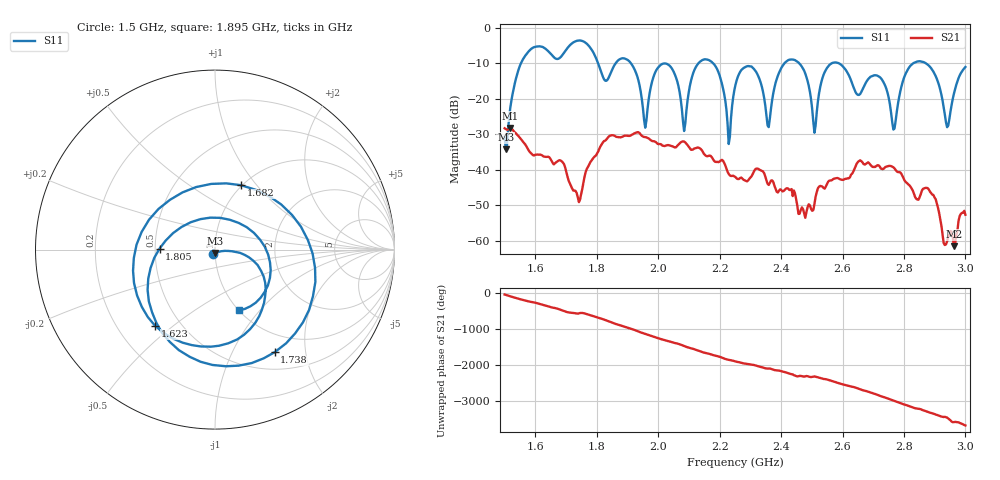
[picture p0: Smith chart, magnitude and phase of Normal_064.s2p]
# HZ S RI R 50
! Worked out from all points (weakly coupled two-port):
!   404 points, 1.5 GHz to 3 GHz, reference 50 ohm
!   highest |S21| = -28.25 dB at 1.519 GHz (marker M1); lowest = -61.5 dB at 2.963 GHz (marker M2)
!   lowest |S11| = -34.3 dB at 1.504 GHz (marker M3), VSWR 1.04, Z = 50 - j1.94 ohm
!   |S11| at or under -10 dB: 1.911 GHz to 2.131 GHz (219.7 MHz wide, 10.9 % of centre); 2.179 GHz to 2.411 GHz (231.8 MHz wide, 10.1 % of centre); 2.588 GHz to 2.83 GHz (241.8 MHz wide, 8.93 % of centre) (the widest 3 of 7)
!   S12 and S22 are empty: the file has one direction only
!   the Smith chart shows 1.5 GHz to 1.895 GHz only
!   S11 on the Smith chart (normalised r, x): 1.5 GHz: 0.97, -0.05; 1.623 GHz: 0.36, -0.43; 1.682 GHz: 0.99, +0.83; 1.738 GHz: 0.73, -1.48; 1.805 GHz: 0.53, +0.01; 1.895 GHz: 1.01, -0.78
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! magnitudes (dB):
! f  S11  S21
! 1.5 GHz  -30.7  -28.3
! 1.504 GHz  -34.3  -28.5
! 1.519 GHz  -22.4  -28.2
! 1.623 GHz  -5.4  -36.0
! 1.682 GHz  -8.3  -37.4
! 1.738 GHz  -3.6  -47.7
! 1.753 GHz  -3.7  -45.3
! 1.805 GHz  -10.2  -34.7
! 1.895 GHz  -8.8  -30.4
! 1.958 GHz  -28.1  -30.8
! 2.002 GHz  -10.9  -32.7
! 2.084 GHz  -29.1  -32.1
! 2.14 GHz  -9.3  -34.3
! 2.23 GHz  -32.7  -41.2
! 2.252 GHz  -15.9  -42.1
! 2.36 GHz  -28.0  -44.3
! 2.442 GHz  -9.0  -45.8
! 2.501 GHz  -22.9  -51.6
! 2.572 GHz  -9.8  -42.5
! 2.751 GHz  -19.8  -38.9
! 2.963 GHz  -18.5  -61.5
! 3 GHz  -11.0  -52.7
